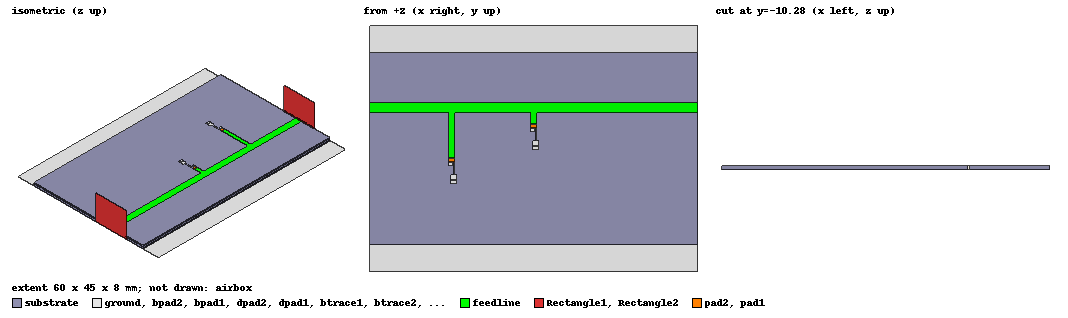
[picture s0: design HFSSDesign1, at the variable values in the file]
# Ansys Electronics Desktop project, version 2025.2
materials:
  vacuum: permittivity=1
  RO4003C_338: permittivity=3.38 permeability=1 dielectric_loss_tangent=0.0027
  pec: conductivity=1e+30

design HFSSDesign1 (HFSS, HFSS Modal Network, model units mm)
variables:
  sub_h = 0.813mm
  w50 = 1.85mm
  wstub = 1mm
  l_stub1 = 8.2mm
  l_stub2 = 2mm
  pos1 = 10mm
  pos2 = 25mm
  gap_size = 0.2mm
  pad_l = 0.5mm
  Cvar1 = 1.5pF
  Cvar2 = 0.75pF
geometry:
  ground = rectangle(corner=(-5mm, -30mm, 0mm), x_size=60mm, y_size=45mm)
  substrate [RO4003C_338] = box(corner=(-5mm, -25mm, 0mm), size=(60mm, 35mm, sub_h))
  feedline = rectangle(corner=(-5mm, -w50/2, sub_h), x_size=60mm, y_size=w50)
  stub1 = rectangle(corner=(pos1-wstub/2, -w50/2, sub_h), x_size=wstub, y_size=-l_stub1)
  gap1 = rectangle(corner=(pos1-wstub/2, -w50/2-l_stub1, sub_h), x_size=wstub, y_size=-gap_size)
  pad1 = rectangle(corner=(pos1-wstub/2, -w50/2-l_stub1-gap_size, sub_h), x_size=wstub, y_size=-pad_l)
  stub2 = rectangle(corner=(pos2-wstub/2, -w50/2, sub_h), x_size=wstub, y_size=-l_stub2)
  gap2 = rectangle(corner=(pos2-wstub/2, -w50/2-l_stub2, sub_h), x_size=wstub, y_size=-gap_size)
  pad2 = rectangle(corner=(pos2-wstub/2, -w50/2-l_stub2-gap_size, sub_h), x_size=wstub, y_size=-pad_l)
  feedline.unite(stub1, stub2)
  airbox [vacuum] = box(corner=(-5mm, (-10 -37) mm, -37mm), size=(60mm, (20 + 74) mm, sub_h + 74mm))
  Rectangle1 = rectangle(corner=(55mm, -5mm, 0mm), y_size=10mm, z_size=8mm)
  Rectangle2 = rectangle(corner=(-5mm, -5mm, 0mm), y_size=10mm, z_size=8mm)
  gapb1 = rectangle(corner=(pos1-wstub/2, -w50/2-l_stub1-gap_size-pad_l, sub_h), x_size=0.6mm, y_size=-gap_size)
  padb1 = rectangle(corner=(pos1-wstub/2, -w50/2-l_stub1-gap_size-pad_l-gap_size, sub_h), x_size=0.6mm, y_size=-pad_l)
  via1 [pec] = cylinder(axis=Z, base_centre=(pos1-0.2mm, -w50/2-l_stub1-gap_size-pad_l-gap_size-pad_l/2, 0mm), radius=0.15mm, height=sub_h)
  btrace1 = rectangle(corner=(pos1+0.3mm, -w50/2-l_stub1-gap_size-pad_l, sub_h), x_size=0.2mm, y_size=-2mm)
  gapr1 = rectangle(corner=(pos1+0.3mm, -w50/2-l_stub1-gap_size-pad_l-2mm, sub_h), x_size=0.2mm, y_size=-0.4mm)
  bpad1 = rectangle(corner=(pos1-0.1mm, -w50/2-l_stub1-gap_size-pad_l-2.4mm, sub_h), x_size=1mm, y_size=-1mm)
  gapd1 = rectangle(corner=(pos1-0.1mm, -w50/2-l_stub1-gap_size-pad_l-3.4mm, sub_h), x_size=1mm, y_size=-0.2mm)
  dpad1 = rectangle(corner=(pos1-0.1mm, -w50/2-l_stub1-gap_size-pad_l-3.6mm, sub_h), x_size=1mm, y_size=-0.5mm)
  viad1 [pec] = cylinder(axis=Z, base_centre=(pos1+0.4mm, -w50/2-l_stub1-gap_size-pad_l-3.6mm-0.25mm, 0mm), radius=0.15mm, height=sub_h)
  gapb2 = rectangle(corner=(pos2-wstub/2, -w50/2-l_stub2-gap_size-pad_l, sub_h), x_size=0.6mm, y_size=-gap_size)
  padb2 = rectangle(corner=(pos2-wstub/2, -w50/2-l_stub2-gap_size-pad_l-gap_size, sub_h), x_size=0.6mm, y_size=-pad_l)
  via2 [pec] = cylinder(axis=Z, base_centre=(pos2-0.2mm, -w50/2-l_stub2-gap_size-pad_l-gap_size-pad_l/2, 0mm), radius=0.15mm, height=sub_h)
  btrace2 = rectangle(corner=(pos2+0.3mm, -w50/2-l_stub2-gap_size-pad_l, sub_h), x_size=0.2mm, y_size=-2mm)
  gapr2 = rectangle(corner=(pos2+0.3mm, -w50/2-l_stub2-gap_size-pad_l-2mm, sub_h), x_size=0.2mm, y_size=-0.4mm)
  bpad2 = rectangle(corner=(pos2-0.1mm, -w50/2-l_stub2-gap_size-pad_l-2.4mm, sub_h), x_size=1mm, y_size=-1mm)
  gapd2 = rectangle(corner=(pos2-0.1mm, -w50/2-l_stub2-gap_size-pad_l-3.4mm, sub_h), x_size=1mm, y_size=-0.2mm)
  dpad2 = rectangle(corner=(pos2-0.1mm, -w50/2-l_stub2-gap_size-pad_l-3.6mm, sub_h), x_size=1mm, y_size=-0.5mm)
  viad2 [pec] = cylinder(axis=Z, base_centre=(pos2+0.4mm, -w50/2-l_stub2-gap_size-pad_l-3.6mm-0.25mm, 0mm), radius=0.15mm, height=sub_h)
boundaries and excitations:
  PEC_metal: Perfect E Objects=[ground, feedline, pad1, pad2]
  Rad1: Radiation Faces=airbox.face(-y, +z, +y, -z)
  LumpRLC3: Lumped RLC Objects=gap1 CurrentLine{(9950mm, -9150mm, 813mm) -> (9950mm, -9300mm, 813mm)} RLC_Type=Serial Resistance=0.6ohm Inductance=0.5nH Capacitance=Cvar1
  LumpRLC4: Lumped RLC Objects=gap2 CurrentLine{(24950mm, -2950mm, 813mm) -> (24950mm, -3100mm, 813mm)} RLC_Type=Serial Resistance=0.6ohm Inductance=0.5nH Capacitance=Cvar2
  DCblock1: Lumped RLC Objects=gapb1 CurrentLine{(9.8, -9.825, 0.813) -> (9.8, -10.025, 0.813)} RLC_Type=Serial Resistance=0.1ohm Capacitance=100pF
  BiasRes1: Lumped RLC Objects=gapr1 CurrentLine{(10.4, -11.825, 0.813) -> (10.4, -12.225, 0.813)} RLC_Type=Serial Resistance=10kOhm
  Decap1: Lumped RLC Objects=gapd1 CurrentLine{(10.4, -13.225, 0.813) -> (10.4, -13.425, 0.813)} RLC_Type=Serial Resistance=0.1ohm Capacitance=100pF
  DCblock2: Lumped RLC Objects=gapb2 CurrentLine{(24.8, -3.625, 0.813) -> (24.8, -3.825, 0.813)} RLC_Type=Serial Resistance=0.1ohm Capacitance=100pF
  BiasRes2: Lumped RLC Objects=gapr2 CurrentLine{(25.4, -5.625, 0.813) -> (25.4, -6.025, 0.813)} RLC_Type=Serial Resistance=10kOhm
  Decap2: Lumped RLC Objects=gapd2 CurrentLine{(25.4, -7.025, 0.813) -> (25.4, -7.225, 0.813)} RLC_Type=Serial Resistance=0.1ohm Capacitance=100pF
  PEC_bias: Perfect E Objects=[padb1, btrace1, bpad1, dpad1, padb2, btrace2, bpad2, dpad2]
  port1: Wave Port Objects=Rectangle1 WavePortType=Modal NumModes=1 Modes{Mode1{IntLine{(55, 0.54054054, 0) -> (55000mm, 540.54054mm, 7872.0787mm)} CharImp=Zpi}}
  port2: Wave Port Objects=Rectangle2 WavePortType=Modal NumModes=1 Modes{Mode1{IntLine{(-5, -0.54054054, 0) -> (-5000mm, -540.54054mm, 7872.0787mm)} CharImp=Zpi}}
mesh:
  Length1: LengthBased Objects=[gap1, gap2, pad2, pad1] MaxLength=1.5mm
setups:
  Setup1: HfssDriven Frequency=5.5GHz MaxDeltaS=0.02 MaximumPasses=15 MinimumPasses=1 MinimumConvergedPasses=1 PercentRefinement=30 BasisOrder=1 PortAccuracy=2 DrivenSolverType="Direct Solver"
    sweep Sweep: 1GHz to 8GHz, 150 points; Type=Interpolating InterpTolerance=0.5 InterpMaxSolns=250 InterpUsePortImped=false PassivityErrorTolerance=0.0001
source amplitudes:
  port1:1: 1W 0deg
  port2:1: 0W 0deg
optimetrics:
  ParametricSetup1: Parametric Sim._Setups=[Setup1]
    sweep Cvar1: LIN 1.2pF 1.8pF 0.1pF
    sweep Cvar2: LIN 0.5pF 0.9pF 0.1pF
  ParametricSetup2: Parametric Sim._Setups=[Setup1]
    sweep Cvar2: LIN 0.3pF 1pF 0.1pF
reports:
  S Parameter Plot5: dB(S(port1,port1)) vs Freq on Setup1 : Sweep [Cvar1=1.5pF Cvar2=0.75pF]; dB(S(port2,port1)) vs Freq on Setup1 : Sweep [Cvar1=all Cvar2=all]
